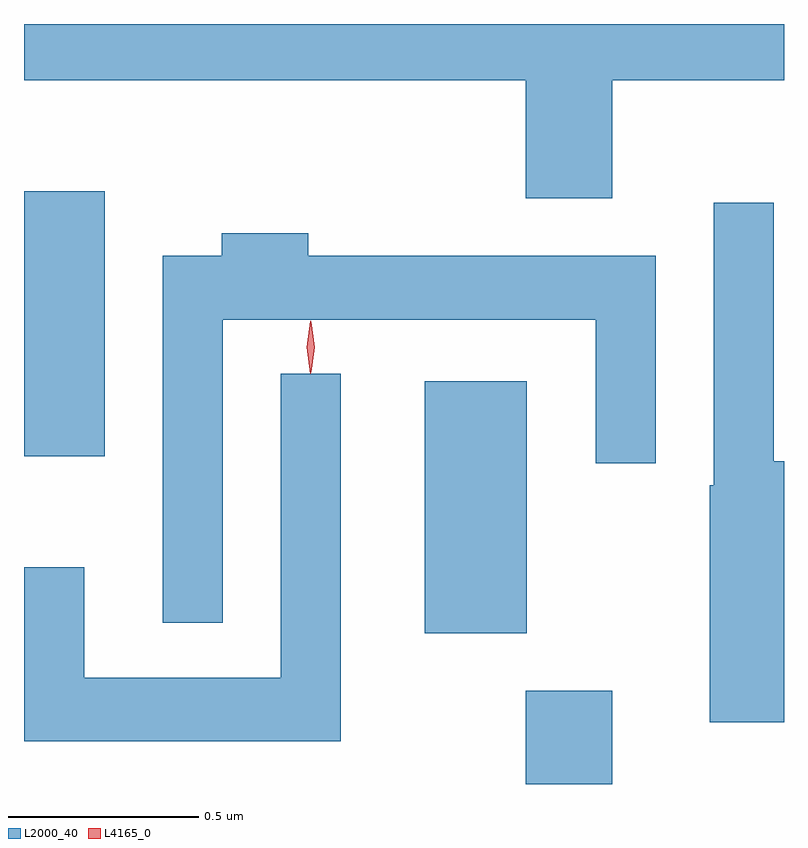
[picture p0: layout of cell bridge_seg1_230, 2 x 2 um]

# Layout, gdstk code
import gdstk
lib = gdstk.Library(unit=1e-6, precision=1e-09)
def R(c, l, rs):  # rectangles x0, y0, x1, y1
    for r in rs: c.add(gdstk.rectangle(r[:2], r[2:], *l))
def P(c, l, *ps):  # polygons
    for p in ps: c.add(gdstk.Polygon(p, *l))
L2000_40 = (2000, 40)
L4165_0 = (4165, 0)

bridge_seg1_230 = lib.new_cell('bridge_seg1_230')
R(bridge_seg1_230, L2000_40, [(838.231,875.524,838.459,875.769), (837.966,875.921,838.234,876.584), (836.911,876.386,837.124,877.084)])
P(bridge_seg1_230, L2000_40, [(838.459,877.376),(838.911,877.376),(838.911,877.524),(836.911,877.524),(836.911,877.376),(838.231,877.376),(838.231,877.066),(838.459,877.066)],
  [(838.911,876.374),(838.884,876.374),(838.884,877.053),(838.726,877.053),(838.726,876.31),(838.716,876.31),(838.716,875.686),(838.911,875.686)],
  [(837.434,876.746),(838.416,876.746),(838.416,876.368),(838.574,876.368),(838.574,876.914),(837.659,876.914),(837.659,876.974),(837.431,876.974),(837.431,876.914),(837.276,876.914),(837.276,875.948),(837.434,875.948)],
  [(837.744,876.603),(837.586,876.603),(837.586,875.804),(837.069,875.804),(837.069,876.094),(836.911,876.094),(836.911,875.636),(837.744,875.636)])
P(bridge_seg1_230, L4165_0, [(837.664,876.604),(837.655,876.673),(837.664,876.742),(837.665,876.743),(837.666,876.742),(837.675,876.673),(837.666,876.604),(837.665,876.604)],
  [(837.666,876.607),(837.666,876.608),(837.656,876.674),(837.666,876.74),(837.666,876.74),(837.667,876.74),(837.676,876.674),(837.667,876.608)])

lib.write_gds('bridge_seg1_230.gds')
